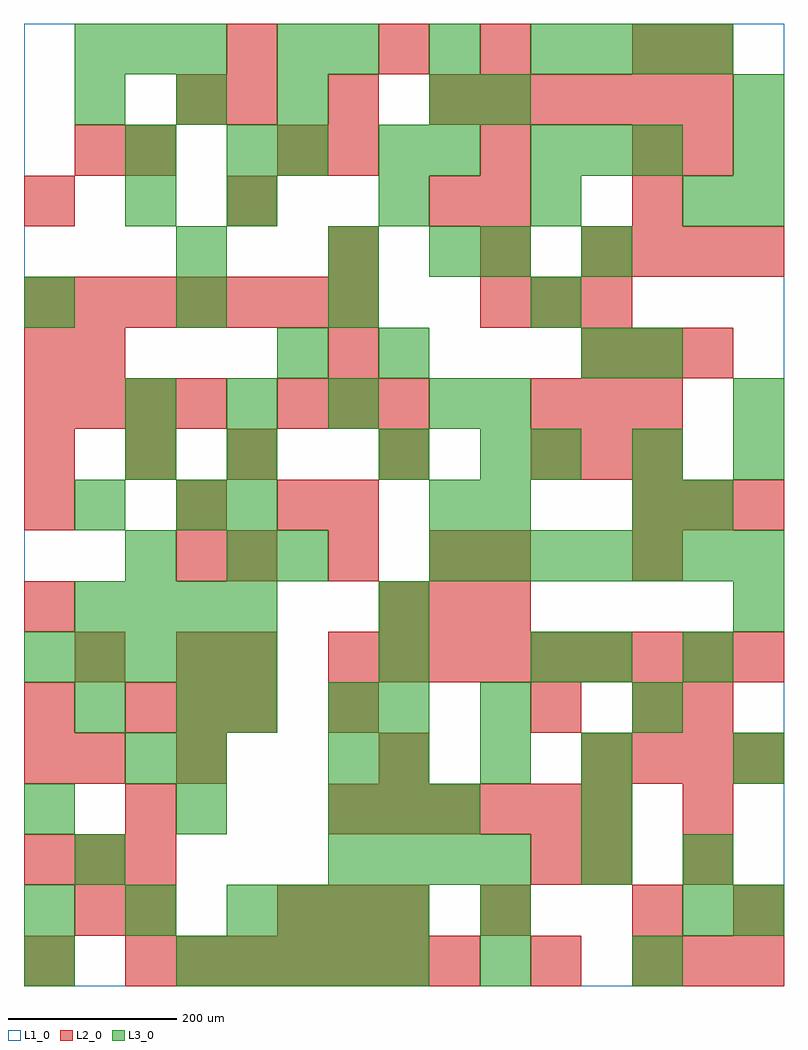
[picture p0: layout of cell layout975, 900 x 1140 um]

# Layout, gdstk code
import gdstk
lib = gdstk.Library(unit=1e-6, precision=1e-09)
def R(c, l, rs):  # rectangles x0, y0, x1, y1
    for r in rs: c.add(gdstk.rectangle(r[:2], r[2:], *l))
def A(c, l, x, y, w, h, nx, ny, dx, dy):  # array of equal rectangles
    R(c, l, [(x+i*dx, y+j*dy, x+i*dx+w, y+j*dy+h) for i in range(nx) for j in range(ny)])
L1_0 = (1, 0)
L2_0 = (2, 0)
L3_0 = (3, 0)

layout975 = lib.new_cell('layout975')
R(layout975, L1_0, [(0,0,900,1140)])
A(layout975, L2_0, 120, 0, 60, 60, 7, 1, 60, 0)
A(layout975, L2_0, 720, 0, 60, 60, 3, 2, 60, 240)
A(layout975, L2_0, 300, 60, 60, 60, 3, 2, 60, 600)
A(layout975, L2_0, 0, 120, 60, 60, 3, 1, 60, 0)
A(layout975, L2_0, 360, 180, 60, 60, 6, 1, 60, 0)
A(layout975, L2_0, 180, 240, 60, 60, 3, 1, 240, 0)
A(layout975, L2_0, 0, 300, 60, 60, 1, 3, 0, 120)
A(layout975, L2_0, 120, 300, 60, 60, 3, 1, 60, 0)
A(layout975, L2_0, 360, 360, 60, 60, 9, 1, 60, 0)
A(layout975, L2_0, 420, 420, 60, 60, 3, 1, 60, 0)
A(layout975, L2_0, 240, 480, 60, 60, 3, 2, 120, 540)
A(layout975, L2_0, 720, 540, 60, 60, 3, 1, 60, 0)
A(layout975, L2_0, 0, 600, 60, 60, 3, 1, 120, 0)
A(layout975, L2_0, 600, 600, 60, 60, 3, 2, 60, 60)
A(layout975, L2_0, 0, 660, 60, 60, 4, 1, 60, 0)
A(layout975, L2_0, 60, 720, 60, 60, 3, 1, 300, 0)
A(layout975, L2_0, 720, 720, 60, 60, 1, 3, 0, 180)
A(layout975, L2_0, 0, 780, 60, 60, 7, 1, 60, 0)
A(layout975, L2_0, 540, 780, 60, 60, 3, 1, 60, 0)
A(layout975, L2_0, 660, 840, 60, 60, 4, 1, 60, 0)
A(layout975, L2_0, 0, 900, 60, 60, 3, 1, 240, 0)
A(layout975, L2_0, 360, 960, 60, 60, 3, 1, 180, 0)
A(layout975, L2_0, 540, 1020, 60, 60, 5, 1, 60, 0)
R(layout975, L2_0, [(0,0,60,60), (600,0,660,60), (60,60,120,120), (120,60,180,120), (540,60,600,120), (720,60,780,120), (840,60,900,120), (600,120,660,180), (660,120,720,180), (780,120,840,180), (120,180,180,240), (780,180,840,240), (0,240,60,300), (60,240,120,300), (360,300,420,360), (600,300,660,360), (720,300,780,360), (780,300,840,360), (60,360,120,420), (180,360,240,420), (240,360,300,420), (180,480,240,540), (540,480,600,540), (720,480,780,540), (180,540,240,600), (300,540,360,600), (360,540,420,600), (420,600,480,660), (0,720,60,780), (780,720,840,780), (360,840,420,900), (540,840,600,900), (540,900,600,960), (60,960,120,1020), (120,960,180,1020), (300,960,360,1020), (780,960,840,1020), (180,1020,240,1080), (240,1080,300,1140), (420,1080,480,1140), (540,1080,600,1140), (780,1080,840,1140)])
A(layout975, L3_0, 180, 0, 60, 60, 5, 1, 60, 0)
A(layout975, L3_0, 0, 60, 60, 60, 3, 1, 120, 0)
A(layout975, L3_0, 300, 60, 60, 60, 3, 1, 60, 0)
A(layout975, L3_0, 540, 60, 60, 60, 1, 3, 0, 240)
A(layout975, L3_0, 840, 60, 60, 60, 1, 3, 0, 180)
A(layout975, L3_0, 360, 120, 60, 60, 4, 1, 60, 0)
A(layout975, L3_0, 0, 180, 60, 60, 3, 2, 180, 600)
A(layout975, L3_0, 420, 240, 60, 60, 3, 1, 120, 0)
A(layout975, L3_0, 420, 300, 60, 60, 1, 3, 0, 60)
A(layout975, L3_0, 0, 360, 60, 60, 5, 1, 60, 0)
A(layout975, L3_0, 60, 420, 60, 60, 4, 1, 60, 0)
A(layout975, L3_0, 240, 480, 60, 60, 1, 3, 0, 60)
A(layout975, L3_0, 300, 480, 60, 60, 1, 3, 0, 240)
A(layout975, L3_0, 480, 480, 60, 60, 7, 1, 60, 0)
A(layout975, L3_0, 600, 600, 60, 60, 3, 1, 120, 0)
A(layout975, L3_0, 120, 660, 60, 60, 4, 1, 120, 0)
A(layout975, L3_0, 540, 660, 60, 60, 1, 3, 0, 180)
A(layout975, L3_0, 240, 900, 60, 60, 4, 1, 180, 0)
A(layout975, L3_0, 840, 900, 60, 60, 1, 3, 0, 60)
A(layout975, L3_0, 600, 960, 60, 60, 3, 1, 60, 0)
A(layout975, L3_0, 60, 1020, 60, 60, 3, 1, 120, 0)
A(layout975, L3_0, 60, 1080, 60, 60, 3, 1, 60, 0)
A(layout975, L3_0, 360, 1080, 60, 60, 3, 1, 120, 0)
A(layout975, L3_0, 660, 1080, 60, 60, 3, 1, 60, 0)
R(layout975, L3_0, [(0,0,60,60), (540,0,600,60), (720,0,780,60), (780,60,840,120), (60,120,120,180), (660,120,720,180), (780,120,840,180), (420,180,480,240), (480,180,540,240), (660,180,720,240), (120,240,180,300), (180,240,240,300), (360,240,420,300), (60,300,120,360), (180,300,240,360), (240,300,300,360), (360,300,420,360), (720,300,780,360), (600,360,660,420), (660,360,720,420), (780,360,840,420), (120,480,180,540), (60,540,120,600), (180,540,240,600), (480,540,540,600), (720,540,780,600), (780,540,840,600), (120,600,180,660), (420,600,480,660), (540,600,600,660), (840,660,900,720), (420,720,480,780), (660,720,720,780), (720,720,780,780), (600,780,660,840), (180,840,240,900), (360,840,420,900), (480,840,540,900), (660,840,720,900), (120,900,180,960), (120,960,180,1020), (240,960,300,1020), (420,960,480,1020), (480,960,540,1020), (480,1020,540,1080), (300,1080,360,1140)])

lib.write_gds('layout975.gds')
